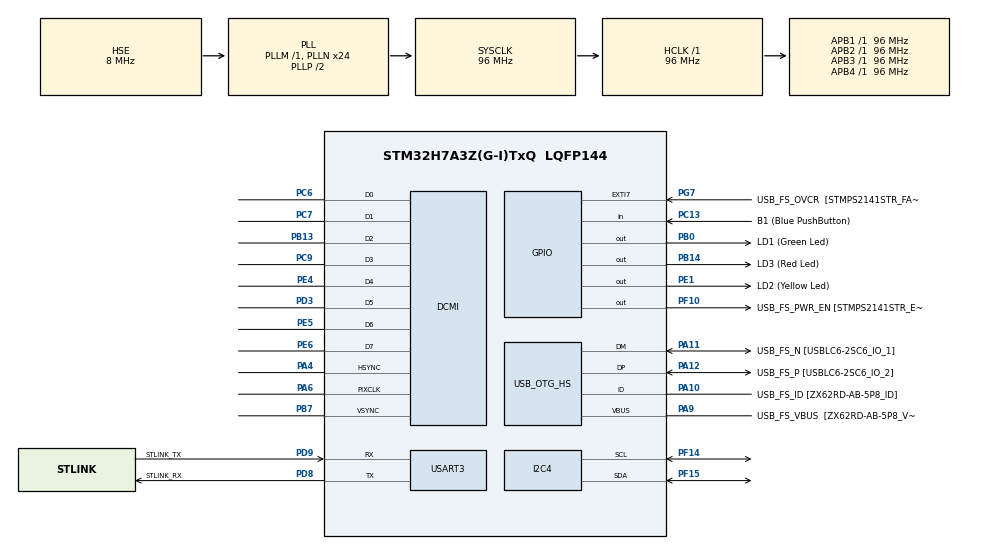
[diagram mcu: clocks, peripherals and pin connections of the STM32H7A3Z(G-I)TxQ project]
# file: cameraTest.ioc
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DCMI.JPEGMode=DCMI_JPEG_DISABLE
Dma.DCMI_PSSI.0.Direction=DMA_PERIPH_TO_MEMORY
Dma.DCMI_PSSI.0.EventEnable=DISABLE
Dma.DCMI_PSSI.0.FIFOMode=DMA_FIFOMODE_ENABLE
Dma.DCMI_PSSI.0.FIFOThreshold=DMA_FIFO_THRESHOLD_FULL
Dma.DCMI_PSSI.0.Instance=DMA1_Stream0
Dma.DCMI_PSSI.0.MemBurst=DMA_MBURST_SINGLE
Dma.DCMI_PSSI.0.MemDataAlignment=DMA_MDATAALIGN_WORD
Dma.DCMI_PSSI.0.MemInc=DMA_MINC_ENABLE
Dma.DCMI_PSSI.0.Mode=DMA_NORMAL
Dma.DCMI_PSSI.0.PeriphBurst=DMA_PBURST_SINGLE
Dma.DCMI_PSSI.0.PeriphDataAlignment=DMA_PDATAALIGN_WORD
Dma.DCMI_PSSI.0.PeriphInc=DMA_PINC_DISABLE
Dma.DCMI_PSSI.0.Polarity=HAL_DMAMUX_REQ_GEN_RISING
Dma.DCMI_PSSI.0.Priority=DMA_PRIORITY_HIGH
Dma.DCMI_PSSI.0.RequestNumber=1
Dma.DCMI_PSSI.0.SignalID=NONE
Dma.DCMI_PSSI.0.SyncEnable=DISABLE
Dma.DCMI_PSSI.0.SyncPolarity=HAL_DMAMUX_SYNC_NO_EVENT
Dma.DCMI_PSSI.0.SyncRequestNumber=1
Dma.DCMI_PSSI.0.SyncSignalID=NONE
Dma.Request0=DCMI_PSSI
I2C4.Timing=0x10B0DCFB
Mcu.Family=STM32H7
Mcu.Name=STM32H7A3Z(G-I)TxQ
Mcu.Package=LQFP144
NVIC.DMA1_Stream0_IRQn=true\:0\:0\:false\:false\:true\:false\:true\:true
NVIC.PriorityGroup=NVIC_PRIORITYGROUP_4
PA10.GPIO_Label=USB_FS_ID [ZX62RD-AB-5P8_ID]
PA10.Mode=OTG/Dual-Role-Device-FS
PA10.Signal=USB_OTG_HS_ID
PA11.GPIO_Label=USB_FS_N [USBLC6-2SC6_IO_1]
PA11.Mode=OTG/Dual-Role-Device-FS
PA11.Signal=USB_OTG_HS_DM
PA12.GPIO_Label=USB_FS_P [USBLC6-2SC6_IO_2]
PA12.Mode=OTG/Dual-Role-Device-FS
PA12.Signal=USB_OTG_HS_DP
PA4.Mode=Slave_8_bits_External_Synchro
PA4.Signal=DCMI_HSYNC
PA6.Mode=Slave_8_bits_External_Synchro
PA6.Signal=DCMI_PIXCLK
PA9.GPIO_Label=USB_FS_VBUS  [ZX62RD-AB-5P8_VBUS]
PA9.Mode=Activate_VBUS_FS
PA9.Signal=USB_OTG_HS_VBUS
PB0.GPIO_Label=LD1 (Green Led)
PB0.Signal=GPIO_Output
PB13.Mode=Slave_8_bits_External_Synchro
PB13.Signal=DCMI_D2
PB14.GPIO_Label=LD3 (Red Led)
PB14.Signal=GPIO_Output
PB7.Mode=Slave_8_bits_External_Synchro
PB7.Signal=DCMI_VSYNC
PC13.GPIO_Label=B1 (Blue PushButton)
PC13.Signal=GPIO_Input
PC14-OSC32_IN.GPIO_Label=OSC32_IN
PC14-OSC32_IN.Mode=LSE-External-Oscillator
PC14-OSC32_IN.Signal=RCC_OSC32_IN
PC15-OSC32_OUT.GPIO_Label=OSC32_OUT
PC15-OSC32_OUT.Mode=LSE-External-Oscillator
PC15-OSC32_OUT.Signal=RCC_OSC32_OUT
PC6.Mode=Slave_8_bits_External_Synchro
PC6.Signal=DCMI_D0
PC7.Mode=Slave_8_bits_External_Synchro
PC7.Signal=DCMI_D1
PC9.Mode=Slave_8_bits_External_Synchro
PC9.Signal=DCMI_D3
PD3.Mode=Slave_8_bits_External_Synchro
PD3.Signal=DCMI_D5
PD8.GPIO_Label=STLINK_RX
PD8.Mode=Asynchronous
PD8.Signal=USART3_TX
PD9.GPIO_Label=STLINK_TX
PD9.Mode=Asynchronous
PD9.Signal=USART3_RX
PE1.GPIO_Label=LD2 (Yellow Led)
PE1.Signal=GPIO_Output
PE4.Mode=Slave_8_bits_External_Synchro
PE4.Signal=DCMI_D4
PE5.Mode=Slave_8_bits_External_Synchro
PE5.Signal=DCMI_D6
PE6.Mode=Slave_8_bits_External_Synchro
PE6.Signal=DCMI_D7
PF10.GPIO_Label=USB_FS_PWR_EN [STMPS2141STR_EN]
PF10.Signal=GPIO_Output
PF14.Mode=I2C
PF14.Signal=I2C4_SCL
PF15.Mode=I2C
PF15.Signal=I2C4_SDA
PG7.GPIO_Label=USB_FS_OVCR  [STMPS2141STR_FAULT]
PG7.Signal=GPXTI7
PH0-OSC_IN.GPIO_Label=PH0-MCU
PH0-OSC_IN.Mode=HSE-External-Clock-Source
PH0-OSC_IN.Signal=RCC_OSC_IN
PH1-OSC_OUT.GPIO_Label=PH1-MCU
PH1-OSC_OUT.Signal=RCC_OSC_OUT
ProjectManager.HeapSize=0x200
ProjectManager.StackSize=0x400
ProjectManager.TargetToolchain=STM32CubeIDE
RAMECC.Instance-RAMECC_Monitor1=RAMECC_Monitor1
RAMECC.Instance-RAMECC_Monitor2=RAMECC_Monitor2
RAMECC.Instance-RAMECC_Monitor3=RAMECC_Monitor3
RCC.ADCFreq_Value=16125000
RCC.APB1Freq_Value=96000000
RCC.APB2Freq_Value=96000000
RCC.APB3Freq_Value=96000000
RCC.APB4Freq_Value=96000000
RCC.CortexFreq_Value=96000000
RCC.DIVM1=1
RCC.DIVM3=1
RCC.DIVN1=24
RCC.DIVN3=24
RCC.DIVQ1=4
RCC.HCLKFreq_Value=96000000
RCC.HSE_VALUE=8000000
RCC.PLLFRACN=0
RCC.PLLSourceVirtual=RCC_PLLSOURCE_HSE
RCC.PWR_Regulator_Voltage_Scale=PWR_REGULATOR_VOLTAGE_SCALE0
RCC.SYSCLKFreq_VALUE=96000000
RCC.SYSCLKSource=RCC_SYSCLKSOURCE_PLLCLK
RCC.SupplySource=PWR_DIRECT_SMPS_SUPPLY
RCC.USBCLockSelection=RCC_USBCLKSOURCE_HSI48
RCC.USBFreq_Value=48000000
USART3.VirtualMode-Asynchronous=VM_ASYNC
VP_RAMECC_VS_D1_1.Mode=RAMECC_Monitor1
VP_RAMECC_VS_D1_2.Mode=RAMECC_Monitor2
VP_RAMECC_VS_D1_3.Mode=RAMECC_Monitor3
board=NUCLEO-H7A3ZI-Q

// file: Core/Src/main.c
/* USER CODE BEGIN Header */
/**
  ******************************************************************************
  * @file           : main.c
  * @brief          : Main program body
  ******************************************************************************
  * @attention
  *
  * Copyright (c) 2022 STMicroelectronics.
  * All rights reserved.
  *
  * This software is licensed under terms that can be found in the LICENSE file
  * in the root directory of this software component.
  * If no LICENSE file comes with this software, it is provided AS-IS.
  *
  ******************************************************************************
  */
/* USER CODE END Header */
#include "main.h"
#include "dcmi.h"
#include "dma.h"
#include "i2c.h"
#include "ramecc.h"
#include "usart.h"
#include "usb_otg.h"
#include "gpio.h"

/* USER CODE BEGIN Includes */
#include "log.h"
#include "string.h"
#include "ov5640.h"
/* USER CODE END Includes */

/* USER CODE BEGIN PD */
#define MAX_WIDTH                 (640)
#define MAX_HEIGHT                (480)
#define MAX_NUM_PIXELS            (MAX_WIDTH * MAX_HEIGHT)
#define CAMERA_BITS_PER_PX        16U //for RGB565
#define CAMERA_BUFF_SIZE          (MAX_NUM_PIXELS * CAMERA_BITS_PER_PX / 8)
/* USER CODE END PD */

/* USER CODE BEGIN PV */
uint8_t pCameraBuff[CAMERA_BUFF_SIZE];
/* USER CODE END PV */

void SystemClock_Config(void);
/* USER CODE BEGIN PFP */
void DCMI_IRQHandler(void);
void HAL_DCMI_VsyncEventCallback(DCMI_HandleTypeDef *hdcmi);
/* USER CODE END PFP */

int main(void)
{

  /* MCU Configuration--------------------------------------------------------*/

  /* Reset of all peripherals, Initializes the Flash interface and the Systick. */
  HAL_Init();

  /* Configure the system clock */
  SystemClock_Config();

  /* Initialize all configured peripherals */
  MX_GPIO_Init();
  MX_USART3_UART_Init();
  MX_USB_OTG_HS_USB_Init();
  MX_I2C4_Init();
  MX_DMA_Init();
  MX_DCMI_Init();
  MX_RAMECC_Init();
  /* USER CODE BEGIN 2 */
  log_info("Main Init");

  int32_t ret = 0;

  if (ret != HAL_OK) {
	  log_error("I2C Init failed");
  }

  //int32_t ret = BSP_CAMERA_Init(0, CAMERA_R640x480, CAMERA_PF_RGB565);

  /*
  if (ret != BSP_ERROR_NONE)
  {
	  log_error("Unable to initialize OV5640, error code:%d", ret);
  }
  else {
	  log_info("Successfully initialized OV5640");
  } */

  while(OV5640_Init())
  {
	  log_error("OV5640 error, please check !\r\n");
  }
  OV5640_RGB565_Mode();
  OV5640_Focus_Init();
  OV5640_Light_Mode(0);	   //set auto
  OV5640_Color_Saturation(3); //default
  OV5640_Brightness(4);	//default
  OV5640_Contrast(3);     //default
  OV5640_Sharpness(33);	//set auto
  OV5640_Auto_Focus();
  OV5640_OutSize_Set(4,0, MAX_WIDTH, MAX_HEIGHT);

  __HAL_DCMI_ENABLE_IT(&hdcmi, DCMI_IT_FRAME);
  ret = HAL_DCMI_Start_DMA(&hdcmi, DCMI_MODE_SNAPSHOT, (uint32_t) pCameraBuff, CAMERA_BUFF_SIZE);
  if (ret != HAL_OK) {
	  log_error("Unable to start DCMI, error: %d", ret);
  }
  else {
	  log_info("Successfully started DCMI");
  }

  /* USER CODE END 2 */

  /* Infinite loop */
  while (1)
  {

  }
}

void SystemClock_Config(void)
{
  RCC_OscInitTypeDef RCC_OscInitStruct = {0};
  RCC_ClkInitTypeDef RCC_ClkInitStruct = {0};

  /*AXI clock gating */
  RCC->CKGAENR = 0xFFFFFFFF;

  /** Supply configuration update enable
  */
  HAL_PWREx_ConfigSupply(PWR_DIRECT_SMPS_SUPPLY);

  /** Configure the main internal regulator output voltage
  */
  __HAL_PWR_VOLTAGESCALING_CONFIG(PWR_REGULATOR_VOLTAGE_SCALE0);

  while(!__HAL_PWR_GET_FLAG(PWR_FLAG_VOSRDY)) {}

  /** Initializes the RCC Oscillators according to the specified parameters
  * in the RCC_OscInitTypeDef structure.
  */
  RCC_OscInitStruct.OscillatorType = RCC_OSCILLATORTYPE_HSI48|RCC_OSCILLATORTYPE_HSE;
  RCC_OscInitStruct.HSEState = RCC_HSE_BYPASS;
  RCC_OscInitStruct.HSI48State = RCC_HSI48_ON;
  RCC_OscInitStruct.PLL.PLLState = RCC_PLL_ON;
  RCC_OscInitStruct.PLL.PLLSource = RCC_PLLSOURCE_HSE;
  RCC_OscInitStruct.PLL.PLLM = 1;
  RCC_OscInitStruct.PLL.PLLN = 24;
  RCC_OscInitStruct.PLL.PLLP = 2;
  RCC_OscInitStruct.PLL.PLLQ = 4;
  RCC_OscInitStruct.PLL.PLLR = 2;
  RCC_OscInitStruct.PLL.PLLRGE = RCC_PLL1VCIRANGE_3;
  RCC_OscInitStruct.PLL.PLLVCOSEL = RCC_PLL1VCOWIDE;
  RCC_OscInitStruct.PLL.PLLFRACN = 0;
  if (HAL_RCC_OscConfig(&RCC_OscInitStruct) != HAL_OK)
  {
    Error_Handler();
  }

  /** Initializes the CPU, AHB and APB buses clocks
  */
  RCC_ClkInitStruct.ClockType = RCC_CLOCKTYPE_HCLK|RCC_CLOCKTYPE_SYSCLK
                              |RCC_CLOCKTYPE_PCLK1|RCC_CLOCKTYPE_PCLK2
                              |RCC_CLOCKTYPE_D3PCLK1|RCC_CLOCKTYPE_D1PCLK1;
  RCC_ClkInitStruct.SYSCLKSource = RCC_SYSCLKSOURCE_PLLCLK;
  RCC_ClkInitStruct.SYSCLKDivider = RCC_SYSCLK_DIV1;
  RCC_ClkInitStruct.AHBCLKDivider = RCC_HCLK_DIV1;
  RCC_ClkInitStruct.APB3CLKDivider = RCC_APB3_DIV1;
  RCC_ClkInitStruct.APB1CLKDivider = RCC_APB1_DIV1;
  RCC_ClkInitStruct.APB2CLKDivider = RCC_APB2_DIV1;
  RCC_ClkInitStruct.APB4CLKDivider = RCC_APB4_DIV1;

  if (HAL_RCC_ClockConfig(&RCC_ClkInitStruct, FLASH_LATENCY_2) != HAL_OK)
  {
    Error_Handler();
  }
}

/* USER CODE BEGIN 4 */
void DCMI_IRQHandler(void) {
	HAL_DCMI_IRQHandler(&hdcmi);
}

/**
  * @brief  Line event callback
  * @param  hdcmi  pointer to the DCMI handle
  * @retval None
  */
void HAL_DCMI_LineEventCallback(DCMI_HandleTypeDef *hdcmi)
{
	log_info("Line callback");
}

/**
  * @brief  Frame event callback
  * @param  hdcmi pointer to the DCMI handle
  * @retval None
  */
void HAL_DCMI_FrameEventCallback(DCMI_HandleTypeDef *hdcmi)
{
	log_info("Frame callback");
}

/**
  * @brief  Vsync event callback
  * @param  hdcmi pointer to the DCMI handle
  * @retval None
  */
void HAL_DCMI_VsyncEventCallback(DCMI_HandleTypeDef *hdcmi)
{
	log_info("Vsync Callback");
}

/**
  * @brief  Error callback
  * @param  hdcmi pointer to the DCMI handle
  * @retval None
  */
void HAL_DCMI_ErrorCallback(DCMI_HandleTypeDef *hdcmi)
{
	log_info("DCMI error callback");
}
/* USER CODE END 4 */

void Error_Handler(void)
{
  /* USER CODE BEGIN Error_Handler_Debug */
  /* User can add his own implementation to report the HAL error return state */
  __disable_irq();
  while(1)
  {
    HAL_Delay(100);
  }
  /* USER CODE END Error_Handler_Debug */
}
